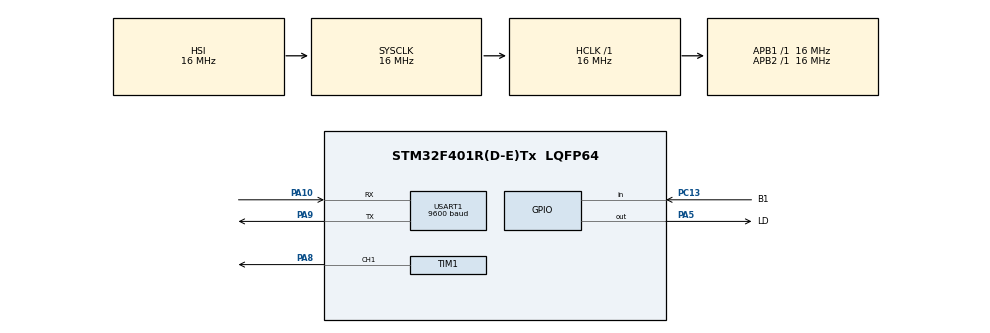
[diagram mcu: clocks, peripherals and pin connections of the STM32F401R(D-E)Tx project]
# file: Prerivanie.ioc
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FREERTOS.Tasks01=defaultTask,24,128,StartDefaultTask,Default,NULL,Dynamic,NULL,NULL;bitChecking,8,128,StartBitChecking,Default,NULL,Dynamic,NULL,NULL;pwmSet,8,128,StartPWM_Set,Default,NULL,Dynamic,NULL,NULL;ledBlink,8,128,StartLedBlink,Default,NULL,Dynamic,NULL,NULL
FREERTOS.configUSE_NEWLIB_REENTRANT=1
Mcu.Family=STM32F4
Mcu.Name=STM32F401R(D-E)Tx
Mcu.Package=LQFP64
NVIC.PriorityGroup=NVIC_PRIORITYGROUP_4
NVIC.TIM1_UP_TIM10_IRQn=true\:5\:0\:false\:false\:true\:true\:false\:true\:true
NVIC.TimeBase=TIM1_UP_TIM10_IRQn
NVIC.TimeBaseIP=TIM10
NVIC.USART1_IRQn=true\:5\:0\:false\:false\:true\:true\:true\:true\:true
PA10.Mode=Asynchronous
PA10.Signal=USART1_RX
PA13.Mode=Trace_Asynchronous_SW
PA13.Signal=SYS_JTMS-SWDIO
PA14.Mode=Trace_Asynchronous_SW
PA14.Signal=SYS_JTCK-SWCLK
PA5.GPIO_Label=LD
PA5.Signal=GPIO_Output
PA8.Signal=S_TIM1_CH1
PA9.Mode=Asynchronous
PA9.Signal=USART1_TX
PB3.Mode=Trace_Asynchronous_SW
PB3.Signal=SYS_JTDO-SWO
PC13-ANTI_TAMP.GPIO_Label=B1
PC13-ANTI_TAMP.Signal=GPIO_Input
PH0\ -\ OSC_IN.Mode=HSE-External-Oscillator
PH0\ -\ OSC_IN.Signal=RCC_OSC_IN
PH1\ -\ OSC_OUT.Mode=HSE-External-Oscillator
PH1\ -\ OSC_OUT.Signal=RCC_OSC_OUT
ProjectManager.HeapSize=0x200
ProjectManager.StackSize=0x400
ProjectManager.TargetToolchain=STM32CubeIDE
RCC.48MHZClocksFreq_Value=48000000
RCC.AHBFreq_Value=16000000
RCC.APB1Freq_Value=16000000
RCC.APB2Freq_Value=16000000
RCC.CortexFreq_Value=16000000
RCC.HSE_VALUE=25000000
RCC.HSI_VALUE=16000000
RCC.LSE_VALUE=32768
RCC.SYSCLKFreq_VALUE=16000000
RCC.VCOOutputFreq_Value=192000000
SH.S_TIM1_CH1.0=TIM1_CH1,PWM Generation1 CH1
TIM1.Channel-PWM\ Generation1\ CH1=TIM_CHANNEL_1
TIM1.Period=4096-1
TIM1.Prescaler=4-1
USART1.BaudRate=9600
USART1.VirtualMode=VM_ASYNC
VP_FREERTOS_VS_CMSIS_V2.Mode=CMSIS_V2
VP_SYS_VS_tim10.Mode=TIM10
board=custom

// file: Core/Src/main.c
/* USER CODE BEGIN Header */
/**
  ******************************************************************************
  * @file           : main.c
  * @brief          : Main program body
  ******************************************************************************
  * @attention
  *
  * Copyright (c) 2024 STMicroelectronics.
  * All rights reserved.
  *
  * This software is licensed under terms that can be found in the LICENSE file
  * in the root directory of this software component.
  * If no LICENSE file comes with this software, it is provided AS-IS.
  *
  ******************************************************************************
  */
/* USER CODE END Header */
#include "main.h"
#include "cmsis_os.h"
#include "tim.h"
#include "usart.h"
#include "gpio.h"

void SystemClock_Config(void);
void MX_FREERTOS_Init(void);

int main(void)
{

  /* MCU Configuration--------------------------------------------------------*/

  /* Reset of all peripherals, Initializes the Flash interface and the Systick. */
  HAL_Init();

  /* Configure the system clock */
  SystemClock_Config();

  /* Initialize all configured peripherals */
  MX_GPIO_Init();
  MX_USART1_UART_Init();
  MX_TIM1_Init();

  /* Init scheduler */
  osKernelInitialize();

  /* Call init function for freertos objects (in cmsis_os2.c) */
  MX_FREERTOS_Init();

  /* Start scheduler */
  osKernelStart();

  /* We should never get here as control is now taken by the scheduler */

  /* Infinite loop */
  while (1)
  {

  }
}

void SystemClock_Config(void)
{
  RCC_OscInitTypeDef RCC_OscInitStruct = {0};
  RCC_ClkInitTypeDef RCC_ClkInitStruct = {0};

  /** Configure the main internal regulator output voltage
  */
  __HAL_RCC_PWR_CLK_ENABLE();
  __HAL_PWR_VOLTAGESCALING_CONFIG(PWR_REGULATOR_VOLTAGE_SCALE2);

  /** Initializes the RCC Oscillators according to the specified parameters
  * in the RCC_OscInitTypeDef structure.
  */
  RCC_OscInitStruct.OscillatorType = RCC_OSCILLATORTYPE_HSI;
  RCC_OscInitStruct.HSIState = RCC_HSI_ON;
  RCC_OscInitStruct.HSICalibrationValue = RCC_HSICALIBRATION_DEFAULT;
  RCC_OscInitStruct.PLL.PLLState = RCC_PLL_NONE;
  if (HAL_RCC_OscConfig(&RCC_OscInitStruct) != HAL_OK)
  {
    Error_Handler();
  }

  /** Initializes the CPU, AHB and APB buses clocks
  */
  RCC_ClkInitStruct.ClockType = RCC_CLOCKTYPE_HCLK|RCC_CLOCKTYPE_SYSCLK
                              |RCC_CLOCKTYPE_PCLK1|RCC_CLOCKTYPE_PCLK2;
  RCC_ClkInitStruct.SYSCLKSource = RCC_SYSCLKSOURCE_HSI;
  RCC_ClkInitStruct.AHBCLKDivider = RCC_SYSCLK_DIV1;
  RCC_ClkInitStruct.APB1CLKDivider = RCC_HCLK_DIV1;
  RCC_ClkInitStruct.APB2CLKDivider = RCC_HCLK_DIV1;

  if (HAL_RCC_ClockConfig(&RCC_ClkInitStruct, FLASH_LATENCY_0) != HAL_OK)
  {
    Error_Handler();
  }
}

void HAL_TIM_PeriodElapsedCallback(TIM_HandleTypeDef *htim)
{
  if (htim->Instance == TIM10) {
    HAL_IncTick();
  }
}

void Error_Handler(void)
{
  __disable_irq();
  while (1)
  {
  }
}

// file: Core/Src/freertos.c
/* USER CODE BEGIN Header */
/**
  ******************************************************************************
  * File Name          : freertos.c
  * Description        : Code for freertos applications
  ******************************************************************************
  * @attention
  *
  * Copyright (c) 2024 STMicroelectronics.
  * All rights reserved.
  *
  * This software is licensed under terms that can be found in the LICENSE file
  * in the root directory of this software component.
  * If no LICENSE file comes with this software, it is provided AS-IS.
  *
  ******************************************************************************
  */
/* USER CODE END Header */

#include "FreeRTOS.h"
#include "task.h"
#include "main.h"
#include "cmsis_os.h"

/* USER CODE BEGIN Includes */
#include "usart.h"
#include "tim.h"

/* USER CODE END Includes */

/* USER CODE BEGIN PTD */
uint8_t dataReceive;
#define bitcheck(byte,nbit) ((byte) & (1<<(nbit)))
uint8_t data[3];
uint16_t pwm;
uint8_t flagReceive;

void Set_PWM_Duty_Cycle(TIM_HandleTypeDef *htim, uint32_t Channel, uint16_t pwm)
{
    __HAL_TIM_SET_COMPARE(htim, Channel, pwm);
}

void HAL_UART_RxCpltCallback(UART_HandleTypeDef *huart)
{
          if(huart == &huart1)
          {
        	  HAL_UART_Receive_IT(&huart1, &dataReceive, 1);
          }
}
/* USER CODE END PTD */

/* Definitions for defaultTask */
osThreadId_t defaultTaskHandle;
const osThreadAttr_t defaultTask_attributes = {
  .name = "defaultTask",
  .stack_size = 128 * 4,
  .priority = (osPriority_t) osPriorityNormal,
};
/* Definitions for bitChecking */
osThreadId_t bitCheckingHandle;
const osThreadAttr_t bitChecking_attributes = {
  .name = "bitChecking",
  .stack_size = 128 * 4,
  .priority = (osPriority_t) osPriorityLow,
};
/* Definitions for pwmSet */
osThreadId_t pwmSetHandle;
const osThreadAttr_t pwmSet_attributes = {
  .name = "pwmSet",
  .stack_size = 128 * 4,
  .priority = (osPriority_t) osPriorityLow,
};
/* Definitions for ledBlink */
osThreadId_t ledBlinkHandle;
const osThreadAttr_t ledBlink_attributes = {
  .name = "ledBlink",
  .stack_size = 128 * 4,
  .priority = (osPriority_t) osPriorityLow,
};

void StartDefaultTask(void *argument);
void StartBitChecking(void *argument);
void StartPWM_Set(void *argument);
void StartLedBlink(void *argument);

void MX_FREERTOS_Init(void); /* (MISRA C 2004 rule 8.1) */

void MX_FREERTOS_Init(void) {
  /* USER CODE BEGIN Init */
	/*HAL_UART_Receive_IT(&huart1, &dataReceive, 1);*/
	HAL_TIM_PWM_Start(&htim1, TIM_CHANNEL_1);
	HAL_UART_Receive_IT(&huart1, &dataReceive, 1);
  /* USER CODE END Init */

  /* Create the thread(s) */
  /* creation of defaultTask */
  defaultTaskHandle = osThreadNew(StartDefaultTask, NULL, &defaultTask_attributes);

  /* creation of bitChecking */
  bitCheckingHandle = osThreadNew(StartBitChecking, NULL, &bitChecking_attributes);

  /* creation of pwmSet */
  pwmSetHandle = osThreadNew(StartPWM_Set, NULL, &pwmSet_attributes);

  /* creation of ledBlink */
  ledBlinkHandle = osThreadNew(StartLedBlink, NULL, &ledBlink_attributes);

}

void StartDefaultTask(void *argument)
{
  for(;;)
  {
    osDelay(1);
  }
}

void StartBitChecking(void *argument)
{
  /* USER CODE BEGIN StartBitChecking */
	int count;
  /* Infinite loop */
  for(;;)
  {
		if (bitcheck(dataReceive, 7)) {
			count++;
			data[count] = dataReceive;
		} else {
			count = 0;
			data[count] = dataReceive;
		}
    osDelay(1);
  }
  /* USER CODE END StartBitChecking */
}

void StartPWM_Set(void *argument)
{
  /* USER CODE BEGIN StartPWM_Set */
  /* Infinite loop */
  for(;;)
  {
	if(bitcheck(data[0], 6)){
		pwm = (uint16_t)(data[1]&255)*20;
	}
	else{
		pwm = (uint16_t)(data[1]&127)*20;
	}
    osDelay(1);
  }
  /* USER CODE END StartPWM_Set */
}

void StartLedBlink(void *argument)
{
  /* USER CODE BEGIN StartLedBlink */

  /* Infinite loop */
  for(;;)
  {
	Set_PWM_Duty_Cycle(&htim1, TIM_CHANNEL_1, pwm);
    osDelay(1);
  }
  /* USER CODE END StartLedBlink */
}
